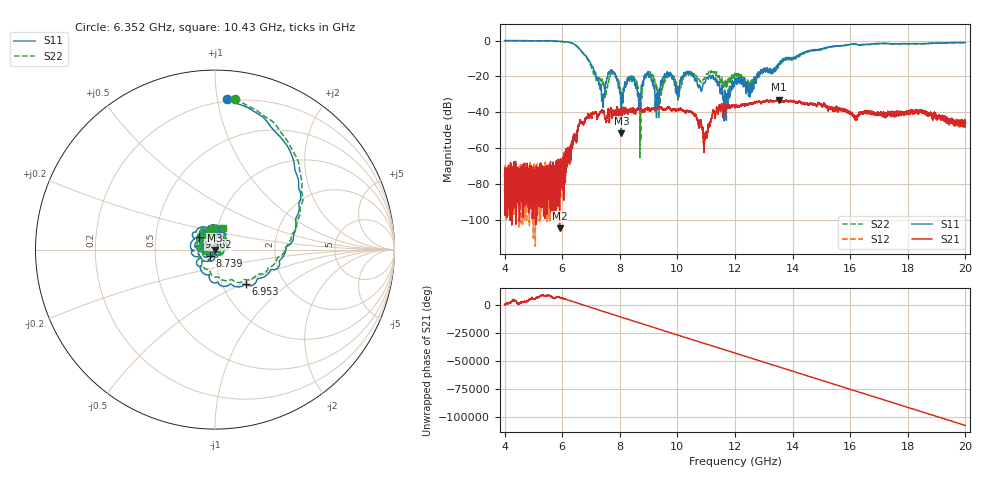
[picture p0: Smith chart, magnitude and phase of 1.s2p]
[Version] 2.0
! Rohde & Schwarz Vector Network Analyzer
! Rohde-Schwarz,ZNL20-2Port,1323001220200009,1.71.1.10-23.02.1.238
! Port Assignments:
! Nominal Port -> Actual Test Port
!  1 -> 1
!  2 -> 2
! Created: GMT+2 2025-01-17 12:06:35
# Hz S RI R 50
[Number of Ports] 2
[Two-Port Data Order] 21_12
! freq[Hz]  S11[Re]  S11[Im]  S21[Re]  S21[Im]  S12[Re]  S12[Im]  S22[Re]  S22[Im]
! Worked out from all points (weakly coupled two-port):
!   16001 points, 4 GHz to 20 GHz, reference 50 ohm
!   highest |S21| = -32.96 dB at 13.51 GHz (marker M1); lowest = -104.9 dB at 5.909 GHz (marker M2)
!   lowest |S11| = -51.9 dB at 8.054 GHz (marker M3), VSWR 1.01, Z = 49.8 - j0.179 ohm
!   |S11| at or under -10 dB: 6.887 GHz to 13.7 GHz (6.814 GHz wide, 66.2 % of centre); 13.71218 GHz to 13.74182 GHz (29.64 MHz wide, 0.216 % of centre); 13.94224 GHz to 13.96583 GHz (23.59 MHz wide, 0.169 % of centre) (the widest 3 of 9)
!   |S22| runs from -65.3 to 0.0 dB; largest |S21 - S12| = 0.0025
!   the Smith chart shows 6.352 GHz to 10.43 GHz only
!   S11 on the Smith chart (normalised r, x): 6.352 GHz: 0.18, +1.07; 6.953 GHz: 1.29, -0.53; 8.739 GHz: 0.95, -0.07; 9.562 GHz: 0.83, +0.12; 10.43 GHz: 1.04, +0.24
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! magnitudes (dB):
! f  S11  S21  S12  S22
! 4 GHz  0.0  -75.6  -85.8  -0.2
! 5.909 GHz  -0.4  -104.9  -71.5  -0.5
! 6.352 GHz  -1.5  -58.5  -56.8  -1.5
! 6.667 GHz  -5.9  -46.1  -45.1  -6.0
! 6.953 GHz  -11.8  -42.6  -42.3  -12.6
! 7.401 GHz  -30.4  -38.9  -38.9  -22.4
! 7.719 GHz  -16.8  -41.2  -41.3  -18.9
! 8.054 GHz  -51.9  -37.3  -37.2  -31.1
! 8.424 GHz  -22.7  -39.4  -39.1  -21.6
! 8.739 GHz  -27.0  -38.6  -38.7  -30.6
! 8.998 GHz  -20.1  -37.9  -37.9  -18.7
! 9.334 GHz  -28.2  -37.8  -37.8  -30.3
! 9.562 GHz  -18.9  -38.6  -38.6  -21.9
! 10.05 GHz  -26.0  -38.6  -38.6  -28.6
! 10.43 GHz  -18.5  -39.5  -39.4  -17.7
! 10.97 GHz  -23.3  -51.9  -52.5  -20.6
! 11.67 GHz  -30.0  -40.5  -40.5  -22.5
! 12 GHz  -21.2  -37.3  -37.6  -19.2
! 13.51 GHz  -13.7  -33.0  -33.1  -13.8
! 14.67 GHz  -5.4  -35.5  -35.1  -5.9
! 17.33 GHz  -1.7  -40.9  -41.1  -1.8
! 20 GHz  -1.2  -45.9  -46.2  -1.2
